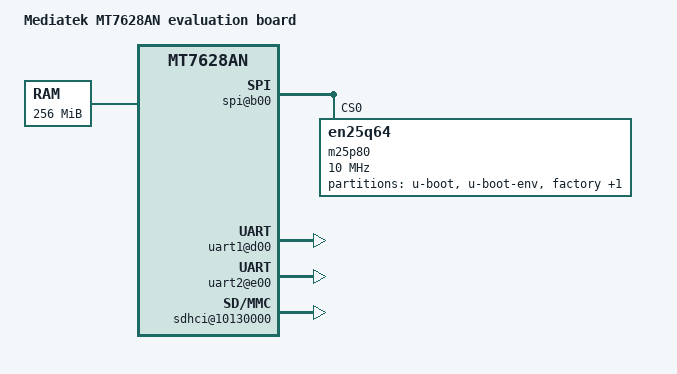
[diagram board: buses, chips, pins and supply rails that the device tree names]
/dts-v1/;

/include/ "mt7628an.dtsi"

/ {
	compatible = "mediatek,mt7628an-eval-board", "mediatek,mt7628an-soc";
	model = "Mediatek MT7628AN evaluation board";
	
        chosen {
                bootargs = "console=ttyS0,115200";
        };


	memory@0 {
		device_type = "memory";
		reg = <0x0 0x10000000>;
	};

	pinctrl {
		state_default: pinctrl0 {
			gpio {
				ralink,group = "i2c";
				ralink,function = "gpio";
			};
			p0_led {
				ralink,group = "p0_led_an";
				ralink,function = "gpio";
			};
			p1_led {
				ralink,group = "p1_led_an";
				ralink,function = "gpio";
			};
			p2_led {
				ralink,group = "p2_led_an";
				ralink,function = "gpio";
			};
			p3_led {
				ralink,group = "p3_led_an";
				ralink,function = "gpio";
			};
			p4_led {
				ralink,group = "p4_led_an";
				ralink,function = "gpio";
			};
			spis {
				ralink,group = "spis";
				ralink,function = "pwm_uart2";
			};
                        pwm1 {
                                ralink,group = "pwm1";
                                ralink,function = "gpio";
                        };
                        pwm0 {
                                ralink,group = "pwm0";
                                ralink,function = "gpio";
                        };
			uart2 {
				ralink,group = "uart2";
				ralink,function = "pwm";
			};
			refclk {
				ralink,group = "refclk";
				ralink,function = "gpio";
			};
			gpio_0 {
				ralink,group = "gpio";
				ralink,function = "gpio";
			};

		};
	
	};

	palmbus@10000000 {
		spi@b00 {
			status = "okay";

			m25p80@0 {
				#address-cells = <1>;
				#size-cells = <1>;
				compatible = "en25q64";
				reg = <0 0>;
				linux,modalias = "m25p80", "en25q64";
				spi-max-frequency = <10000000>;
				m25p,chunked-io = <32>;

				partition@0 {
					label = "u-boot";
					reg = <0x0 0x30000>;
					read-only;
				};

				partition@30000 {
					label = "u-boot-env";
					reg = <0x30000 0x10000>;
					read-only;
				};

				factory: partition@40000 {
					label = "factory";
					reg = <0x40000 0x10000>;
					read-only;
				};

				partition@50000 {
					label = "firmware";
					reg = <0x50000 0x7b0000>;
				};
			};
		};
                uart1@d00 {
                        status = "okay";
                };

                uart2@e00 {
                        status = "okay";
                };
			
	
	};
        sdhci@10130000 {
                status = "okay";
                mediatek,cd-low;
        };
	wmac@10180000{
                ralink,mtd-eeprom = <&factory 0>;
        };
	
};
